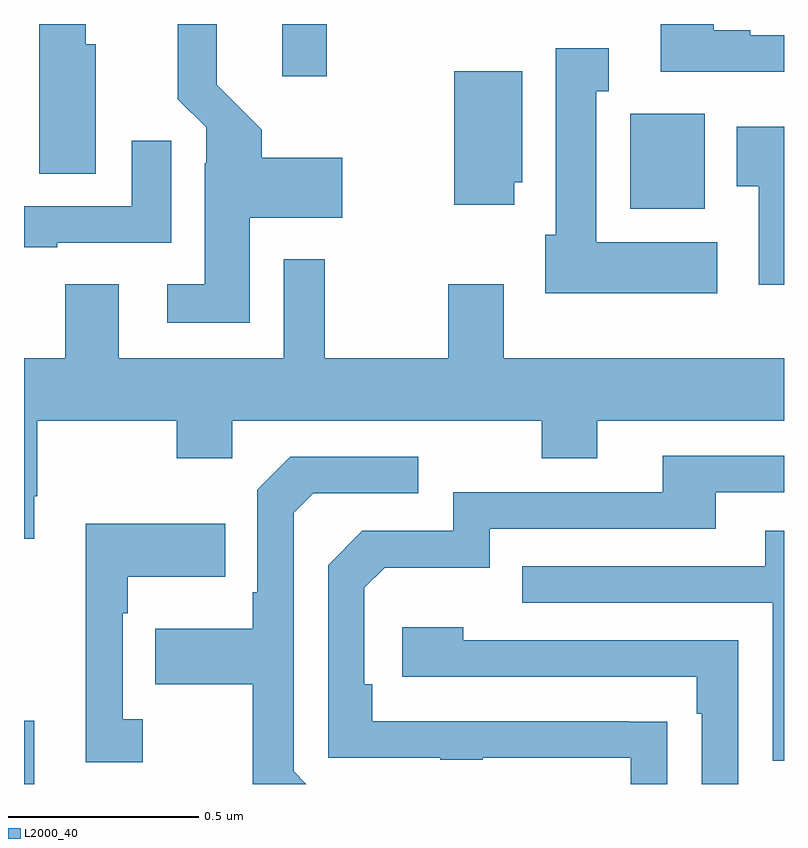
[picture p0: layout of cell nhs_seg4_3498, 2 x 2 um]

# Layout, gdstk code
import gdstk
lib = gdstk.Library(unit=1e-6, precision=1e-09)
def R(c, l, rs):  # rectangles x0, y0, x1, y1
    for r in rs: c.add(gdstk.rectangle(r[:2], r[2:], *l))
def P(c, l, *ps):  # polygons
    for p in ps: c.add(gdstk.Polygon(p, *l))
L2000_40 = (2000, 40)

nhs_seg4_3498 = lib.new_cell('nhs_seg4_3498')
R(nhs_seg4_3498, L2000_40, [(154,759.9,154.027,760.066), (155.595,761.414,155.791,761.664), (154.679,761.763,154.797,761.9)])
P(nhs_seg4_3498, L2000_40, [(154.189,761.847),(154.162,761.847),(154.162,761.9),(154.04,761.9),(154.04,761.506),(154.189,761.506)],
  [(156,761.871),(155.911,761.871),(155.911,761.884),(155.815,761.884),(155.815,761.9),(155.675,761.9),(155.675,761.774),(156,761.774)],
  [(154.594,761.39),(154.837,761.39),(154.837,761.548),(154.625,761.548),(154.625,761.622),(154.507,761.74),(154.507,761.9),(154.405,761.9),(154.405,761.702),(154.479,761.628),(154.479,761.534),(154.475,761.534),(154.475,761.215),(154.377,761.215),(154.377,761.114),(154.594,761.114)],
  [(155.824,761.326),(155.506,761.326),(155.506,761.723),(155.539,761.723),(155.539,761.836),(155.399,761.836),(155.399,761.346),(155.372,761.346),(155.372,761.192),(155.824,761.192)],
  [(155.29,761.484),(155.311,761.484),(155.311,761.776),(155.132,761.776),(155.132,761.424),(155.29,761.424)],
  [(156,761.629),(155.876,761.629),(155.876,761.473),(155.933,761.473),(155.933,761.214),(156,761.214)],
  [(154.087,761.325),(154.387,761.325),(154.387,761.593),(154.283,761.593),(154.283,761.421),(154,761.421),(154,761.313),(154.087,761.313)],
  [(154.027,760.657),(154.035,760.657),(154.035,760.856),(154.402,760.856),(154.402,760.757),(154.548,760.757),(154.548,760.856),(155.362,760.856),(155.362,760.757),(155.509,760.757),(155.509,760.856),(156,760.856),(156,761.02),(155.263,761.02),(155.263,761.215),(155.116,761.215),(155.116,761.02),(154.792,761.02),(154.792,761.281),(154.683,761.281),(154.683,761.02),(154.249,761.02),(154.249,761.215),(154.109,761.215),(154.109,761.02),(154,761.02),(154,760.545),(154.027,760.545)],
  [(155.693,760.064),(155.591,760.064),(155.591,760.065),(154.916,760.065),(154.916,760.162),(154.896,760.162),(154.896,760.416),(154.949,760.469),(155.226,760.469),(155.226,760.572),(155.821,760.572),(155.821,760.668),(156,760.668),(156,760.764),(155.681,760.764),(155.681,760.668),(155.13,760.668),(155.13,760.566),(154.89,760.566),(154.8,760.476),(154.8,759.969),(155.095,759.969),(155.095,759.964),(155.207,759.964),(155.207,759.969),(155.597,759.969),(155.597,759.9),(155.693,759.9)],
  [(154.71,759.933),(154.71,760.614),(154.761,760.665),(155.038,760.665),(155.038,760.761),(154.701,760.761),(154.614,760.674),(154.614,760.405),(154.602,760.405),(154.602,760.309),(154.345,760.309),(154.345,760.162),(154.602,760.162),(154.602,759.9),(154.743,759.9)],
  [(154.312,760.07),(154.26,760.07),(154.26,760.349),(154.273,760.349),(154.273,760.445),(154.529,760.445),(154.529,760.585),(154.163,760.585),(154.163,759.957),(154.312,759.957)],
  [(156,760.567),(155.951,760.567),(155.951,760.473),(155.311,760.473),(155.311,760.377),(155.97,760.377),(155.97,759.961),(156,759.961)],
  [(155.88,760.278),(155.156,760.278),(155.156,760.312),(154.995,760.312),(154.995,760.182),(155.771,760.182),(155.771,760.085),(155.784,760.085),(155.784,759.9),(155.88,759.9)])

lib.write_gds('nhs_seg4_3498.gds')
